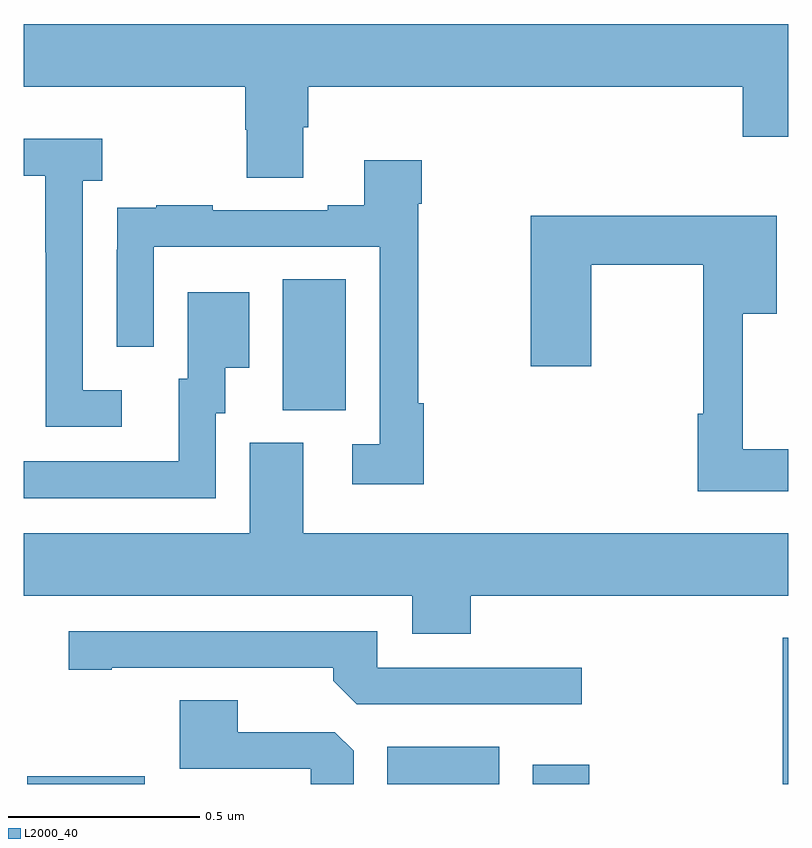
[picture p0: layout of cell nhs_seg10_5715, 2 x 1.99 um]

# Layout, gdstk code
import gdstk
lib = gdstk.Library(unit=1e-6, precision=1e-09)
def R(c, l, rs):  # rectangles x0, y0, x1, y1
    for r in rs: c.add(gdstk.rectangle(r[:2], r[2:], *l))
def P(c, l, *ps):  # polygons
    for p in ps: c.add(gdstk.Polygon(p, *l))
L2000_40 = (2000, 40)

nhs_seg10_5715 = lib.new_cell('nhs_seg10_5715')
R(nhs_seg10_5715, L2000_40, [(182.009,1290.5,182.317,1290.52), (182.951,1290.5,183.244,1290.598), (183.332,1290.5,183.479,1290.55), (183.985,1290.5,184,1290.882), (182.678,1291.477,182.842,1291.82)])
P(nhs_seg10_5715, L2000_40, [(182.731,1292.218),(182.744,1292.218),(182.744,1292.324),(183.881,1292.324),(183.881,1292.193),(184,1292.193),(184,1292.488),(182,1292.488),(182,1292.324),(182.579,1292.324),(182.579,1292.211),(182.584,1292.211),(182.584,1292.086),(182.731,1292.086)],
  [(182.257,1291.53),(182.154,1291.53),(182.154,1292.078),(182.206,1292.078),(182.206,1292.188),(182,1292.188),(182,1292.091),(182.057,1292.091),(182.057,1291.891),(182.058,1291.891),(182.058,1291.434),(182.257,1291.434)],
  [(183.047,1291.496),(183.032,1291.496),(183.032,1292.018),(183.041,1292.018),(183.041,1292.131),(182.891,1292.131),(182.891,1292.014),(182.795,1292.014),(182.795,1292.001),(182.495,1292.001),(182.495,1292.014),(182.347,1292.014),(182.347,1292.007),(182.245,1292.007),(182.245,1291.898),(182.244,1291.898),(182.244,1291.644),(182.34,1291.644),(182.34,1291.905),(182.931,1291.905),(182.931,1291.389),(182.859,1291.389),(182.859,1291.284),(183.047,1291.284)],
  [(184,1291.375),(183.881,1291.375),(183.881,1291.73),(183.97,1291.73),(183.97,1291.987),(183.326,1291.987),(183.326,1291.593),(183.484,1291.593),(183.484,1291.858),(183.778,1291.858),(183.778,1291.469),(183.763,1291.469),(183.763,1291.266),(184,1291.266)],
  [(182.502,1291.47),(182.527,1291.47),(182.527,1291.589),(182.59,1291.589),(182.59,1291.786),(182.429,1291.786),(182.429,1291.56),(182.405,1291.56),(182.405,1291.344),(182,1291.344),(182,1291.248),(182.502,1291.248)],
  [(183.17,1290.992),(184,1290.992),(184,1291.156),(182.731,1291.156),(182.731,1291.392),(182.591,1291.392),(182.591,1291.156),(182,1291.156),(182,1290.992),(183.017,1290.992),(183.017,1290.893),(183.17,1290.893)],
  [(183.46,1290.804),(182.925,1290.804),(182.925,1290.9),(182.118,1290.9),(182.118,1290.799),(182.23,1290.799),(182.23,1290.804),(182.81,1290.804),(182.81,1290.77),(182.871,1290.708),(183.46,1290.708)],
  [(182.863,1290.587),(182.814,1290.636),(182.56,1290.636),(182.56,1290.719),(182.408,1290.719),(182.408,1290.54),(182.751,1290.54),(182.751,1290.5),(182.863,1290.5)])

lib.write_gds('nhs_seg10_5715.gds')
